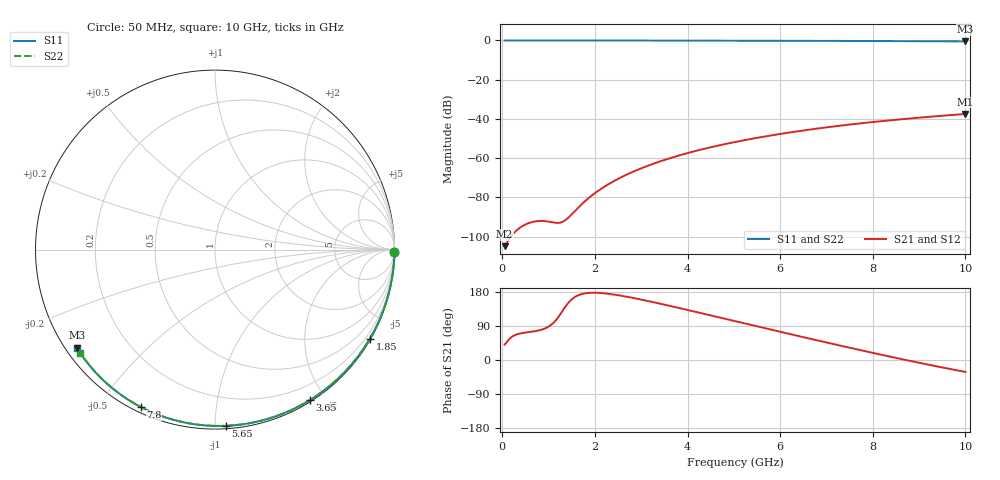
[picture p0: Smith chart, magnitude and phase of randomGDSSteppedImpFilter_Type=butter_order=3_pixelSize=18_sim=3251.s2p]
! freq	dB(S11)	phase(S11)	dB(S12)	phase(S12)
!  dB(S21)	phase(S21)	dB(S22)	phase(S22)
!S-par simulation data
#  GHz  S  DB  R 50
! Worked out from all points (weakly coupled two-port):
!   200 points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, 50 MHz to 10 GHz, reference 50 ohm
!   highest |S21| = -37.49 dB at 10 GHz (marker M1); lowest = -104.9 dB at 50 MHz (marker M2)
!   lowest |S11| = -0.5 dB at 10 GHz (marker M3), VSWR 34.82, Z = 1.58 - j15.9 ohm
!   |S11| at or under -10 dB: nowhere
!   |S22| runs from -0.5 to 0.0 dB; largest |S21 - S12| = 0
!   S11 on the Smith chart (normalised r, x): 50 MHz: open; 1.85 GHz: 0.03, -3.74; 3.65 GHz: 0.02, -1.82; 5.65 GHz: 0.02, -1.06; 7.8 GHz: 0.02, -0.63; 10 GHz: 0.03, -0.32
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0.05  -0.00 -0.8  -104.91 40.5  -104.91 40.5  -0.00 -0.8
0.45  -0.01 -7.4  -94.46 71.5  -94.46 71.5  -0.01 -7.3
0.9  -0.02 -14.7  -92.11 82.1  -92.11 82.1  -0.02 -14.6
1.75  -0.04 -28.4  -82.72 175.0  -82.72 175.0  -0.04 -28.1
1.85  -0.04 -29.9  -80.65 176.8  -80.65 176.8  -0.04 -29.7
1.9  -0.04 -30.7  -79.68 177.3  -79.68 177.3  -0.04 -30.5
2.05  -0.04 -33.1  -77.01 177.3  -77.01 177.3  -0.04 -32.8
2.2  -0.04 -35.5  -74.65 176.0  -74.65 176.0  -0.04 -35.2
2.55  -0.05 -40.9  -69.98 169.9  -69.98 169.9  -0.05 -40.6
2.95  -0.06 -47.1  -65.69 160.7  -65.69 160.7  -0.06 -46.7
3.4  -0.07 -53.9  -61.74 148.9  -61.74 148.9  -0.07 -53.5
3.65  -0.08 -57.7  -59.84 142.0  -59.84 142.0  -0.08 -57.2
4.3  -0.10 -67.3  -55.61 123.5  -55.61 123.5  -0.09 -66.7
5.05  -0.12 -78.0  -51.67 101.8  -51.67 101.8  -0.12 -77.4
5.65  -0.14 -86.4  -49.05 84.5  -49.05 84.5  -0.14 -85.7
6.15  -0.17 -93.3  -47.13 70.2  -47.13 70.2  -0.16 -92.4
6.7  -0.20 -100.7  -45.26 54.6  -45.26 54.6  -0.19 -99.8
7.25  -0.23 -108.0  -43.59 39.2  -43.59 39.2  -0.23 -107.0
7.8  -0.27 -115.2  -42.10 24.1  -42.10 24.1  -0.27 -114.1
8.35  -0.31 -122.4  -40.77 9.4  -40.77 9.4  -0.31 -121.1
9.2  -0.40 -133.7  -38.97 -12.3  -38.97 -12.3  -0.39 -132.0
10  -0.50 -144.6  -37.49 -31.5  -37.49 -31.5  -0.48 -142.5
